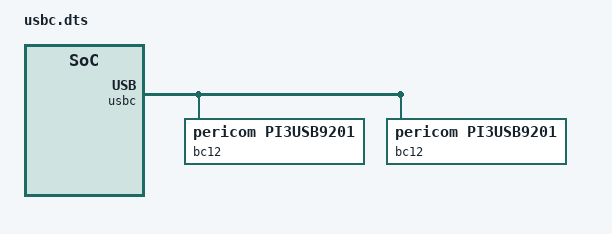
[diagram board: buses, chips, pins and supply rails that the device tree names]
/ {
	usbc {
		port0: usbc-port0 {
			bc12 {
				compatible = "pericom,pi3usb9201";
				port = <&i2c_usb_c0>;
				irq = <&int_usb_c0_bc12>;
			};
		};

		port1: usbc-port1 {
			bc12 {
				compatible = "pericom,pi3usb9201";
				port = <&i2c_usb_c1>;
				irq = <&int_usb_c1_mix_bc12>;
			};
		};
	};
};
